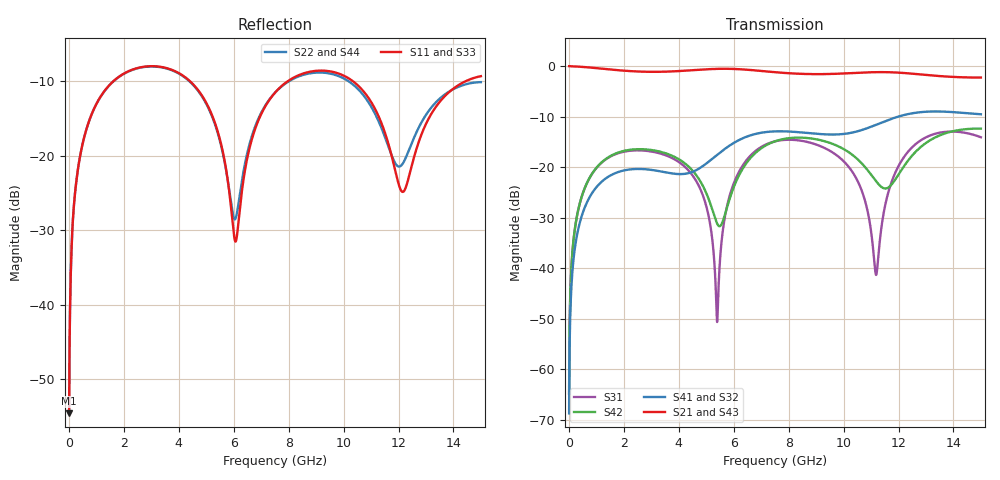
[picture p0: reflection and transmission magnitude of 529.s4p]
! Created with skrf 1.8.0 (http://scikit-rf.org).
# GHz S RI R 50.0
!freq ReS11 ImS11 ReS12 ImS12 ReS13 ImS13
! ReS14 ImS14
! ReS21 ImS21 ReS22 ImS22 ReS23 ImS23
! ReS24 ImS24
! ReS31 ImS31 ReS32 ImS32 ReS33 ImS33
! ReS34 ImS34
! ReS41 ImS41 ReS42 ImS42 ReS43 ImS43
! ReS44 ImS44
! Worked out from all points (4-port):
!   2499 points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, 5 MHz to 15 GHz, reference 50 ohm
!   strongest paths, dB at 5 MHz, 3.476 GHz, 7.19 GHz, 11.1 GHz, 15 GHz:
!     S21: 0.0, -1.1, -1.1, -1.2, -2.3
!     S43: 0.0, -1.1, -1.1, -1.2, -2.3
!     S41: -68.7, -21.0, -13.0, -11.8, -9.5
!     S32: -68.7, -21.0, -13.1, -11.8, -9.6
!     S42: -64.8, -17.2, -15.6, -22.2, -12.4
!     S31: -64.8, -17.6, -15.5, -37.5, -14.1
!   lowest |S11| = -54.6 dB at 5 MHz (marker M1), VSWR 1.00, Z = 50.1 + j0.114 ohm
!   |S11| at or under -10 dB: start of sweep to 1.624 GHz; 4.399 GHz to 7.978 GHz (3.579 GHz wide, 57.8 % of centre); 10.33 GHz to 14.46 GHz (4.13 GHz wide, 33.3 % of centre)
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0.005  0.00149 0.00113  0.9985 -0.0029  7.34e-05 0.000568  -7.15e-05 -0.000359
       0.9985 -0.0029  0.00149 0.00113  -7.15e-05 -0.000359  7.35e-05 0.000568
       7.34e-05 0.000568  -7.15e-05 -0.000359  0.00149 0.00113  0.9985 -0.0029
       -7.15e-05 -0.000359  7.35e-05 0.000568  0.9985 -0.0029  0.00149 0.00113
0.3126303  0.0204 0.0752  0.9723 -0.1808  0.00869 0.0341  -0.00745 -0.0214
           0.9723 -0.1808  0.0203 0.0752  -0.00745 -0.0214  0.00909 0.034
           0.00869 0.0341  -0.00745 -0.0214  0.0204 0.0752  0.9723 -0.1808
           -0.00745 -0.0214  0.00909 0.034  0.9723 -0.1808  0.0203 0.0752
1.519383  0.236 0.1902  0.6232 -0.6833  0.1069 0.0701  -0.0811 -0.0177
          0.6232 -0.6833  0.2343 0.1912  -0.081 -0.0178  0.1124 0.0639
          0.1069 0.0701  -0.081 -0.0178  0.236 0.1902  0.6232 -0.6833
          -0.0811 -0.0177  0.1124 0.0639  0.6232 -0.6833  0.2342 0.1912
5.395998  0.0702 -0.1317  -0.8575 -0.3828  0.00279 0.000914  -0.0492 0.123
          -0.8575 -0.3828  0.0788 -0.1231  -0.0507 0.1224  -0.0239 -0.0138
          0.00279 0.000914  -0.0507 0.1224  0.0701 -0.1316  -0.8575 -0.3826
          -0.0492 0.123  -0.0239 -0.0138  -0.8575 -0.3826  0.0788 -0.1229
9.428929  0.3653 -0.0523  0.0314 0.8342  0.1364 -0.0595  0.1977 -0.0725
          0.0314 0.8342  0.3545 -0.0413  0.1978 -0.0681  0.1345 -0.1142
          0.1364 -0.0595  0.1978 -0.0681  0.3671 -0.0537  0.0317 0.8338
          0.1977 -0.0725  0.1345 -0.1142  0.0317 0.8338  0.355 -0.04
11.18591  0.13 -0.1503  0.6957 0.5245  -0.00813 -0.00273  0.1493 -0.2162
          0.6957 0.5245  0.1395 -0.1206  0.1544 -0.2125  -0.0532 -0.049
          -0.00813 -0.00273  0.1544 -0.2125  0.13 -0.151  0.6958 0.5241
          0.1493 -0.2162  -0.0532 -0.049  0.6958 0.5241  0.1406 -0.1203
15  0.3401 0.0217  0.2304 -0.735  0.1954 -0.0291  -0.3333 -0.0129
    0.2304 -0.735  0.3107 0.00267  -0.3295 -0.022  0.2071 -0.1218
    0.1954 -0.0291  -0.3295 -0.022  0.3511 0.0194  0.2285 -0.7324
    -0.3333 -0.0129  0.2071 -0.1218  0.2285 -0.7324  0.3153 0.00844
